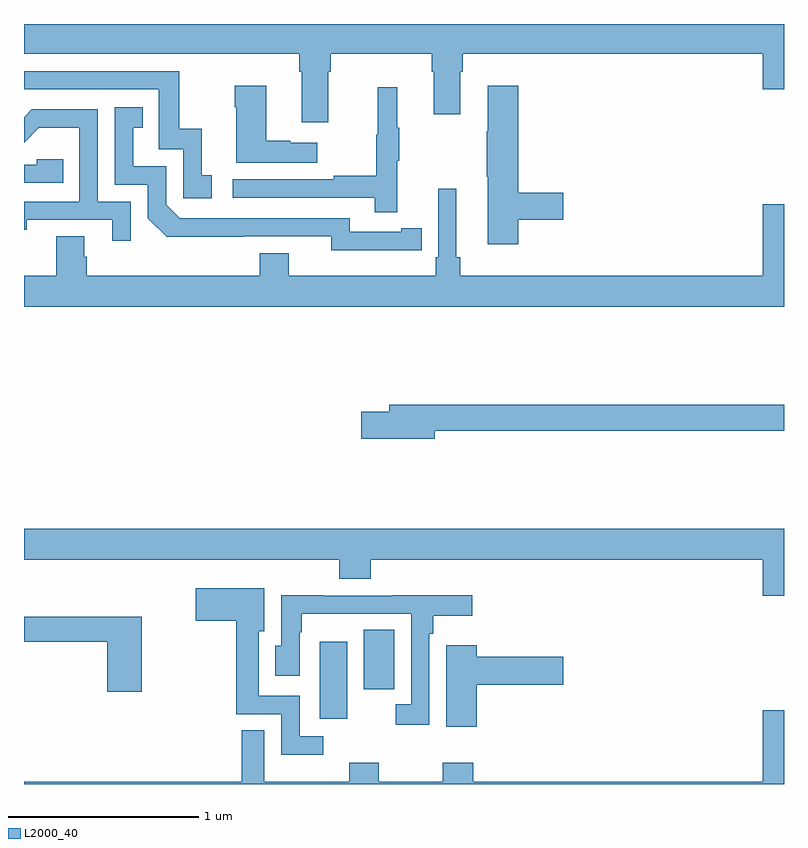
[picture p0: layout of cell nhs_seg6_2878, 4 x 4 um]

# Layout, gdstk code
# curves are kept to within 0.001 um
import gdstk
lib = gdstk.Library(unit=1e-6, precision=1e-09)
def R(c, l, rs):  # rectangles x0, y0, x1, y1
    for r in rs: c.add(gdstk.rectangle(r[:2], r[2:], *l))
def P(c, l, *ps):  # polygons
    for p in ps: c.add(gdstk.Polygon(p, *l))
L2000_40 = (2000, 40)

nhs_seg6_2878 = lib.new_cell('nhs_seg6_2878')
R(nhs_seg6_2878, L2000_40, [(282.557,935.844,282.7,936.25), (282.788,936,282.949,936.311)])
P(nhs_seg6_2878, L2000_40, [(284.888,939.156),(285,939.156),(285,939.5),(281,939.5),(281,939.344),(282.449,939.344),(282.449,939.248),(282.461,939.248),(282.461,938.982),(282.601,938.982),(282.601,939.248),(282.614,939.248),(282.614,939.344),(283.145,939.344),(283.145,939.248),(283.157,939.248),(283.157,939.024),(283.297,939.024),(283.297,939.248),(283.31,939.248),(283.31,939.344),(284.888,939.344)],
  [(281.989,938.703),(281.936,938.703),(281.936,938.95),(281.818,938.95),(281.818,939.252),(281,939.252),(281,939.156),(281.709,939.156),(281.709,938.841),(281.838,938.841),(281.838,938.583),(281.989,938.583)],
  [(283.601,938.47),(283.837,938.47),(283.837,938.612),(283.601,938.612),(283.601,939.175),(283.442,939.175),(283.442,938.936),(283.435,938.936),(283.435,938.695),(283.442,938.695),(283.442,938.34),(283.601,938.34)],
  [(282.544,938.875),(282.401,938.875),(282.401,938.885),(282.274,938.885),(282.274,939.175),(282.109,939.175),(282.109,939.062),(282.116,939.062),(282.116,938.771),(282.544,938.771)],
  [(282.965,938.779),(282.976,938.779),(282.976,938.953),(282.965,938.953),(282.965,939.166),(282.862,939.166),(282.862,938.916),(282.855,938.916),(282.855,938.702),(282.631,938.702),(282.631,938.682),(282.099,938.682),(282.099,938.586),(282.847,938.586),(282.847,938.508),(282.965,938.508)],
  [(282.986,938.31),(283.094,938.31),(283.094,938.426),(282.986,938.426),(282.986,938.406),(282.714,938.406),(282.714,938.478),(281.82,938.478),(281.748,938.55),(281.748,938.751),(281.575,938.751),(281.575,938.955),(281.624,938.955),(281.624,939.061),(281.478,939.061),(281.478,938.655),(281.652,938.655),(281.652,938.478),(281.75,938.381),(282.618,938.382),(282.618,938.309)],
  [(281.562,938.565),(281.388,938.565),(281.388,939.051),(281.042,939.051),(281,939.009),(281,938.876),(281.078,938.954),(281.292,938.954),(281.292,938.565),(281,938.565),(281,938.418),(281.014,938.418),(281.014,938.469),(281.465,938.469),(281.465,938.358),(281.562,938.358)],
  [(281.207,938.787),(281.067,938.787),(281.067,938.76),(281,938.76),(281,938.664),(281.207,938.664)],
  [(285,938.551),(284.888,938.551),(284.888,938.176),(283.295,938.176),(283.295,938.272),(283.276,938.272),(283.276,938.632),(283.179,938.632),(283.179,938.272),(283.166,938.272),(283.166,938.176),(282.394,938.176),(282.394,938.293),(282.242,938.293),(282.242,938.176),(281.33,938.176),(281.33,938.274),(281.317,938.274),(281.317,938.384),(281.17,938.384),(281.17,938.176),(281,938.176),(281,938.012),(285,938.012)],
  [(283.162,937.36),(285,937.36),(285,937.496),(282.923,937.496),(282.923,937.46),(282.774,937.46),(282.774,937.318),(283.162,937.318)],
  [(285,936.844),(281,936.844),(281,936.68),(282.659,936.68),(282.659,936.581),(282.824,936.581),(282.824,936.68),(284.888,936.68),(284.888,936.492),(285,936.492)],
  [(282.574,935.751),(282.45,935.751),(282.45,935.964),(282.235,935.964),(282.235,936.305),(282.265,936.305),(282.265,936.529),(281.904,936.529),(281.904,936.359),(282.117,936.359),(282.117,935.868),(282.354,935.868),(282.354,935.654),(282.574,935.654)],
  [(283.134,936.29),(283.154,936.29),(283.154,936.386),(283.36,936.386),(283.36,936.494),(282.941,936.494),(282.941,936.492),(282.575,936.492),(282.575,936.494),(282.354,936.494),(282.354,936.228),(282.323,936.228),(282.323,936.069),(282.45,936.069),(282.45,936.299),(282.463,936.299),(282.463,936.395),(282.692,936.395),(282.692,936.396),(283.038,936.396),(283.038,935.919),(282.957,935.919),(282.957,935.811),(283.134,935.811)],
  [(281.621,936.379),(281,936.379),(281,936.25),(281.438,936.25),(281.438,935.985),(281.621,935.985)],
  [(283.382,936.023),(283.837,936.023),(283.837,936.17),(283.382,936.17),(283.382,936.229),(283.223,936.229),(283.223,935.802),(283.382,935.802)],
  [(282.265,935.783),(282.147,935.783),(282.147,935.512),(281,935.512),(281,935.5),(285,935.5),(285,935.887),(284.888,935.887),(284.888,935.512),(283.364,935.512),(283.364,935.611),(283.204,935.611),(283.204,935.512),(282.867,935.512),(282.867,935.611),(282.712,935.611),(282.712,935.512),(282.265,935.512)])

lib.write_gds('nhs_seg6_2878.gds')
